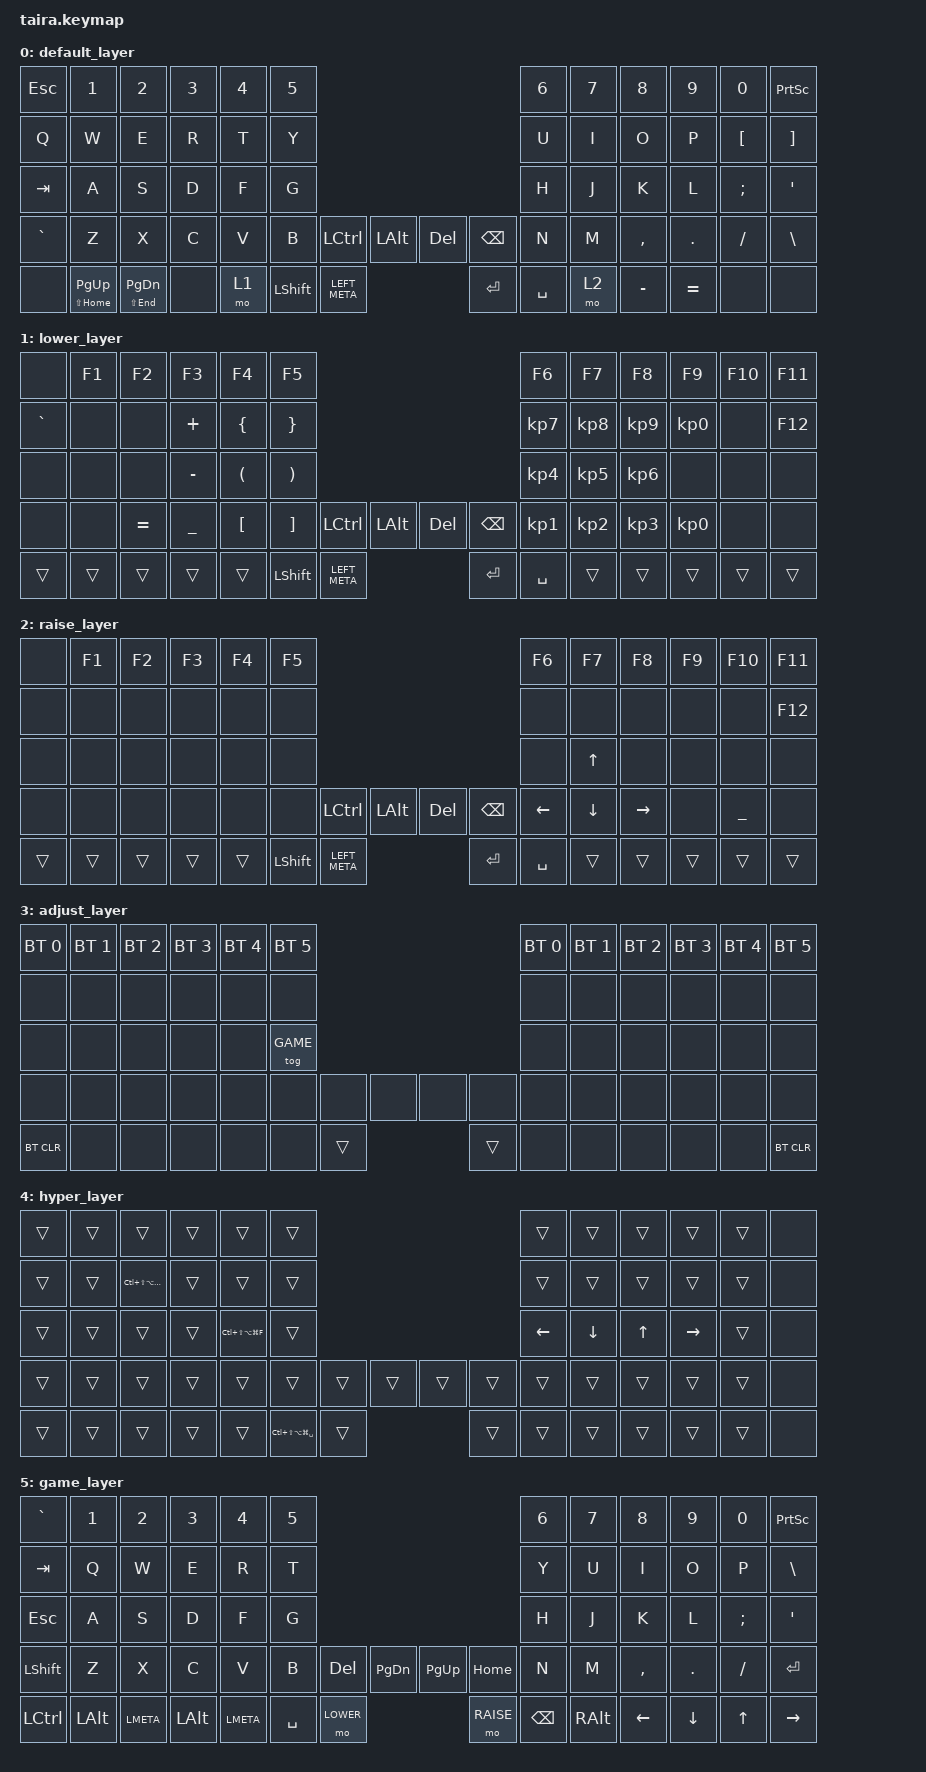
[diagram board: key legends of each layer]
/*
 * Copyright (c) 2020 The ZMK Contributors
 *
 * SPDX-License-Identifier: MIT
 */

#include <behaviors.dtsi>
#include <dt-bindings/zmk/bt.h>
#include <dt-bindings/zmk/keys.h>

#define DEFAULT 0
#define LOWER   1
#define RAISE   2
#define ADJUST  3
#define HYPER   4
#define GAME    5

/ {
    conditional_layers {
        compatible = "zmk,conditional-layers";

        tri_layer {
            if-layers = <1 2>;
            then-layer = <3>;
        };
    };

    keymap {
        compatible = "zmk,keymap";

        default_layer {
            /* QWERTY
 * .----------------------------------------------------------------------------------------------------------------------------------.
 * |  `   |   1  |   2  |   3  |   4  |   5  |                                              |   6  |   7  |   8  |   9  |   0  | PScr |
 * |-------------+------+------+------+------+------+------+-------+-+-------+-------+------+------+------+------+------+------+------|
 * | ESC  |   Q  |   W  |   E  |   R  |   T  |                                              |   Y  |   U  |   I  |   O  |   P  |  \   |
 * |-------------+------+------+------+------+------+------+-------+-+-------+-------+------+------+------+------+------+------+------|
 * | Tab  |   A  |   S  |   D  |   F  |   G  |                                              |   H  |   J  |   K  |   L  |   ;  |  '   |
 * |-------------+------+------+------+------+------+------+-------+-+-------+-------+------+------+------+------+------+------+------|
 * | Shift|   Z  |   X  |   C  |   V  |   B  |      | Del  | PGDN  | | PGUP  | Home  |      |   N  |   M  |   ,  |   .  |   /  | Shift|
 * |-------------+------+------+------+------+------+------+-------+-+-------+-------+------+------+------+------+------+------+------|
 * | Ctrl | Alt  | Meta | Alt  |             | Meta | Space| Lower | | Raise | Enter | RAlt |             | LEFT | DOWN | UP   | RIGHT|
 * .----------------------------------------------------------------------------------------------------------------------------------.
 */

            bindings = <
&kp ESCAPE  &kp N1                &kp N2                 &kp N3  &kp N4  &kp N5                                                                          &kp N6  &kp N7  &kp N8     &kp N9     &kp N0     &kp PSCRN
&kp Q       &kp W                 &kp E                  &kp R   &kp T   &kp Y                                                                           &kp U   &kp I   &kp O      &kp P      &kp LBKT   &kp RBKT
&kp TAB     &kp A                 &kp S                  &kp D   &kp F   &kp G                                                                           &kp H   &kp J   &kp K      &kp L      &kp SEMI   &kp SQT
&kp GRAVE   &kp Z                 &kp X                  &kp C   &kp V   &kp B          &kp LCTRL       &kp LEFT_ALT   &kp DELETE  &kp BACKSPACE         &kp N   &kp M   &kp COMMA  &kp DOT    &kp SLASH  &kp BACKSLASH
&none       &mt LS(HOME) PAGE_UP  &mt LS(END) PAGE_DOWN  &none                   &mo 1  &kp LEFT_SHIFT  &kp LEFT_META  &kp ENTER   &kp SPACE      &mo 2                  &kp MINUS  &kp EQUAL  &none      &none
            >;
        };

        lower_layer {
            /* QWERTY
 * .----------------------------------------------------------------------------------------------------------------------------------.
 * |  `   |   1  |   2  |   3  |   4  |   5  |                                              |   6  |   7  |   8  |   9  |   0  | PScr |
 * |-------------+------+------+------+------+------+------+-------+-+-------+-------+------+------+------+------+------+------+------|
 * | ESC  |   Q  |   W  |   E  |   R  |   T  |                                              |   Y  |   U  |   I  |   O  |   P  |  \   |
 * |-------------+------+------+------+------+------+------+-------+-+-------+-------+------+------+------+------+------+------+------|
 * | Tab  |   A  |   S  |   D  |   F  |   G  |                                              |   H  |   J  |   K  |   L  |   ;  |  '   |
 * |-------------+------+------+------+------+------+------+-------+-+-------+-------+------+------+------+------+------+------+------|
 * | Shift|   Z  |   X  |   C  |   V  |   B  |      | Del  | PGDN  | | PGUP  | Home  |      |   N  |   M  |   ,  |   .  |   /  | Shift|
 * |-------------+------+------+------+------+------+------+-------+-+-------+-------+------+------+------+------+------+------+------|
 * | Ctrl | Alt  | Meta | Alt  |             | Meta | Space| Lower | | Raise | Enter | RAlt |             | LEFT | DOWN | UP   | RIGHT|
 * .----------------------------------------------------------------------------------------------------------------------------------.
 */

            bindings = <
&none      &kp F1  &kp F2     &kp F3     &kp F4                &kp F5                                                                                           &kp F6           &kp F7           &kp F8           &kp F9           &kp F10  &kp F11
&kp GRAVE  &none   &none      &kp PLUS   &kp LEFT_BRACE        &kp RIGHT_BRACE                                                                                  &kp KP_NUMBER_7  &kp KP_NUMBER_8  &kp KP_NUMBER_9  &kp KP_NUMBER_0  &none    &kp F12
&none      &none   &none      &kp MINUS  &kp LEFT_PARENTHESIS  &kp RIGHT_PARENTHESIS                                                                            &kp KP_NUMBER_4  &kp KP_NUMBER_5  &kp KP_NUMBER_6  &none            &none    &none
&none      &none   &kp EQUAL  &kp UNDER  &kp LBKT              &kp RIGHT_BRACKET              &kp LCTRL       &kp LEFT_ALT   &kp DELETE  &kp BACKSPACE          &kp KP_NUMBER_1  &kp KP_NUMBER_2  &kp KP_NUMBER_3  &kp KP_NUMBER_0  &none    &none
&trans     &trans  &trans     &trans                                                  &trans  &kp LEFT_SHIFT  &kp LEFT_META  &kp ENTER   &kp SPACE      &trans                                    &trans           &trans           &trans   &trans
            >;
        };

        raise_layer {
            /* QWERTY
 * .----------------------------------------------------------------------------------------------------------------------------------.
 * |  `   |   1  |   2  |   3  |   4  |   5  |                                              |   6  |   7  |   8  |   9  |   0  | PScr |
 * |-------------+------+------+------+------+------+------+-------+-+-------+-------+------+------+------+------+------+------+------|
 * | ESC  |   Q  |   W  |   E  |   R  |   T  |                                              |   Y  |   U  |   I  |   O  |   P  |  \   |
 * |-------------+------+------+------+------+------+------+-------+-+-------+-------+------+------+------+------+------+------+------|
 * | Tab  |   A  |   S  |   D  |   F  |   G  |                                              |   H  |   J  |   K  |   L  |   ;  |  '   |
 * |-------------+------+------+------+------+------+------+-------+-+-------+-------+------+------+------+------+------+------+------|
 * | Shift|   Z  |   X  |   C  |   V  |   B  |      | Del  | PGDN  | | PGUP  | Home  |      |   N  |   M  |   ,  |   .  |   /  | Shift|
 * |-------------+------+------+------+------+------+------+-------+-+-------+-------+------+------+------+------+------+------+------|
 * | Ctrl | Alt  | Meta | Alt  |             | Meta | Space| Lower | | Raise | Enter | RAlt |             | LEFT | DOWN | UP   | RIGHT|
 * .----------------------------------------------------------------------------------------------------------------------------------.
 */

            bindings = <
&none   &kp F1  &kp F2  &kp F3  &kp F4  &kp F5                                                                              &kp F6    &kp F7          &kp F8     &kp F9  &kp F10    &kp F11
&none   &none   &none   &none   &none   &none                                                                               &none     &none           &none      &none   &none      &kp F12
&none   &none   &none   &none   &none   &none                                                                               &none     &kp UP_ARROW    &none      &none   &none      &none
&none   &none   &none   &none   &none   &none           &kp LEFT_CONTROL  &kp LEFT_ALT   &kp DELETE  &kp BACKSPACE          &kp LEFT  &kp DOWN_ARROW  &kp RIGHT  &none   &kp UNDER  &none
&trans  &trans  &trans  &trans                  &trans  &kp LEFT_SHIFT    &kp LEFT_META  &kp ENTER   &kp SPACE      &trans                            &trans     &trans  &trans     &trans
            >;
        };

        adjust_layer {
            /* QWERTY
 * .----------------------------------------------------------------------------------------------------------------------------------.
 * |  `   |   1  |   2  |   3  |   4  |   5  |                                              |   6  |   7  |   8  |   9  |   0  | PScr |
 * |-------------+------+------+------+------+------+------+-------+-+-------+-------+------+------+------+------+------+------+------|
 * | ESC  |   Q  |   W  |   E  |   R  |   T  |                                              |   Y  |   U  |   I  |   O  |   P  |  \   |
 * |-------------+------+------+------+------+------+------+-------+-+-------+-------+------+------+------+------+------+------+------|
 * | Tab  |   A  |   S  |   D  |   F  |   G  |                                              |   H  |   J  |   K  |   L  |   ;  |  '   |
 * |-------------+------+------+------+------+------+------+-------+-+-------+-------+------+------+------+------+------+------+------|
 * | Shift|   Z  |   X  |   C  |   V  |   B  |      | Del  | PGDN  | | PGUP  | Home  |      |   N  |   M  |   ,  |   .  |   /  | Shift|
 * |-------------+------+------+------+------+------+------+-------+-+-------+-------+------+------+------+------+------+------+------|
 * | Ctrl | Alt  | Meta | Alt  |             | Meta | Space| Lower | | Raise | Enter | RAlt |             | LEFT | DOWN | UP   | RIGHT|
 * .----------------------------------------------------------------------------------------------------------------------------------.
 */

            bindings = <
&bt BT_SEL 0  &bt BT_SEL 1  &bt BT_SEL 2  &bt BT_SEL 3  &bt BT_SEL 4  &bt BT_SEL 5                                              &bt BT_SEL 0  &bt BT_SEL 1  &bt BT_SEL 2  &bt BT_SEL 3  &bt BT_SEL 4  &bt BT_SEL 5
&none         &none         &none         &none         &none         &none                                                     &none         &none         &none         &none         &none         &none
&none         &none         &none         &none         &none         &tog GAME                                                 &none         &none         &none         &none         &none         &none
&none         &none         &none         &none         &none         &none                &none  &none   &none   &none         &none         &none         &none         &none         &none         &none
&bt BT_CLR    &none         &none         &none                                     &none  &none  &trans  &trans  &none  &none                              &none         &none         &none         &bt BT_CLR
            >;
        };

        hyper_layer {
            /* QWERTY
 * .----------------------------------------------------------------------------------------------------------------------------------.
 * |  `   |   1  |   2  |   3  |   4  |   5  |                                              |   6  |   7  |   8  |   9  |   0  | PScr |
 * |-------------+------+------+------+------+------+------+-------+-+-------+-------+------+------+------+------+------+------+------|
 * | ESC  |   Q  |   W  |   E  |   R  |   T  |                                              |   Y  |   U  |   I  |   O  |   P  |  \   |
 * |-------------+------+------+------+------+------+------+-------+-+-------+-------+------+------+------+------+------+------+------|
 * | Tab  |   A  |   S  |   D  |   F  |   G  |                                              |   H  |   J  |   K  |   L  |   ;  |  '   |
 * |-------------+------+------+------+------+------+------+-------+-+-------+-------+------+------+------+------+------+------+------|
 * | Shift|   Z  |   X  |   C  |   V  |   B  |      | Del  | PGDN  | | PGUP  | Home  |      |   N  |   M  |   ,  |   .  |   /  | Shift|
 * |-------------+------+------+------+------+------+------+-------+-+-------+-------+------+------+------+------+------+------+------|
 * | Ctrl | Alt  | Meta | Alt  |             | Meta | Space| Lower | | Raise | Enter | RAlt |             | LEFT | DOWN | UP   | RIGHT|
 * .----------------------------------------------------------------------------------------------------------------------------------.
 */

            bindings = <
&trans  &trans  &trans                 &trans  &trans                 &trans                                                                     &trans    &trans    &trans  &trans     &trans  &none
&trans  &trans  &kp LC(LS(LA(LG(W))))  &trans  &trans                 &trans                                                                     &trans    &trans    &trans  &trans     &trans  &none
&trans  &trans  &trans                 &trans  &kp LC(LS(LA(LG(F))))  &trans                                                                     &kp LEFT  &kp DOWN  &kp UP  &kp RIGHT  &trans  &none
&trans  &trans  &trans                 &trans  &trans                 &trans          &trans                     &trans  &trans  &trans          &trans    &trans    &trans  &trans     &trans  &none
&trans  &trans  &trans                 &trans                                 &trans  &kp LC(LS(LA(LG(SPACE))))  &trans  &trans  &trans  &trans                      &trans  &trans     &trans  &none
            >;
        };

        game_layer {
            bindings = <
&kp GRAVE  &kp N1    &kp N2     &kp N3    &kp N4  &kp N5                                                                  &kp N6  &kp N7  &kp N8     &kp N9    &kp N0     &kp PSCRN
&kp TAB    &kp Q     &kp W      &kp E     &kp R   &kp T                                                                   &kp Y   &kp U   &kp I      &kp O     &kp P      &kp BSLH
&kp ESC    &kp A     &kp S      &kp D     &kp F   &kp G                                                                   &kp H   &kp J   &kp K      &kp L     &kp SEMI   &kp SQT
&kp LSHFT  &kp Z     &kp X      &kp C     &kp V   &kp B              &kp DEL    &kp PG_DN  &kp PG_UP  &kp HOME            &kp N   &kp M   &kp COMMA  &kp DOT   &kp SLASH  &kp ENTER
&kp LCTRL  &kp LALT  &kp LMETA  &kp LALT                  &kp LMETA  &kp SPACE  &mo LOWER  &mo RAISE  &kp BSPC  &kp RALT                  &kp LEFT   &kp DOWN  &kp UP     &kp RIGHT
            >;
        };
    };
};
